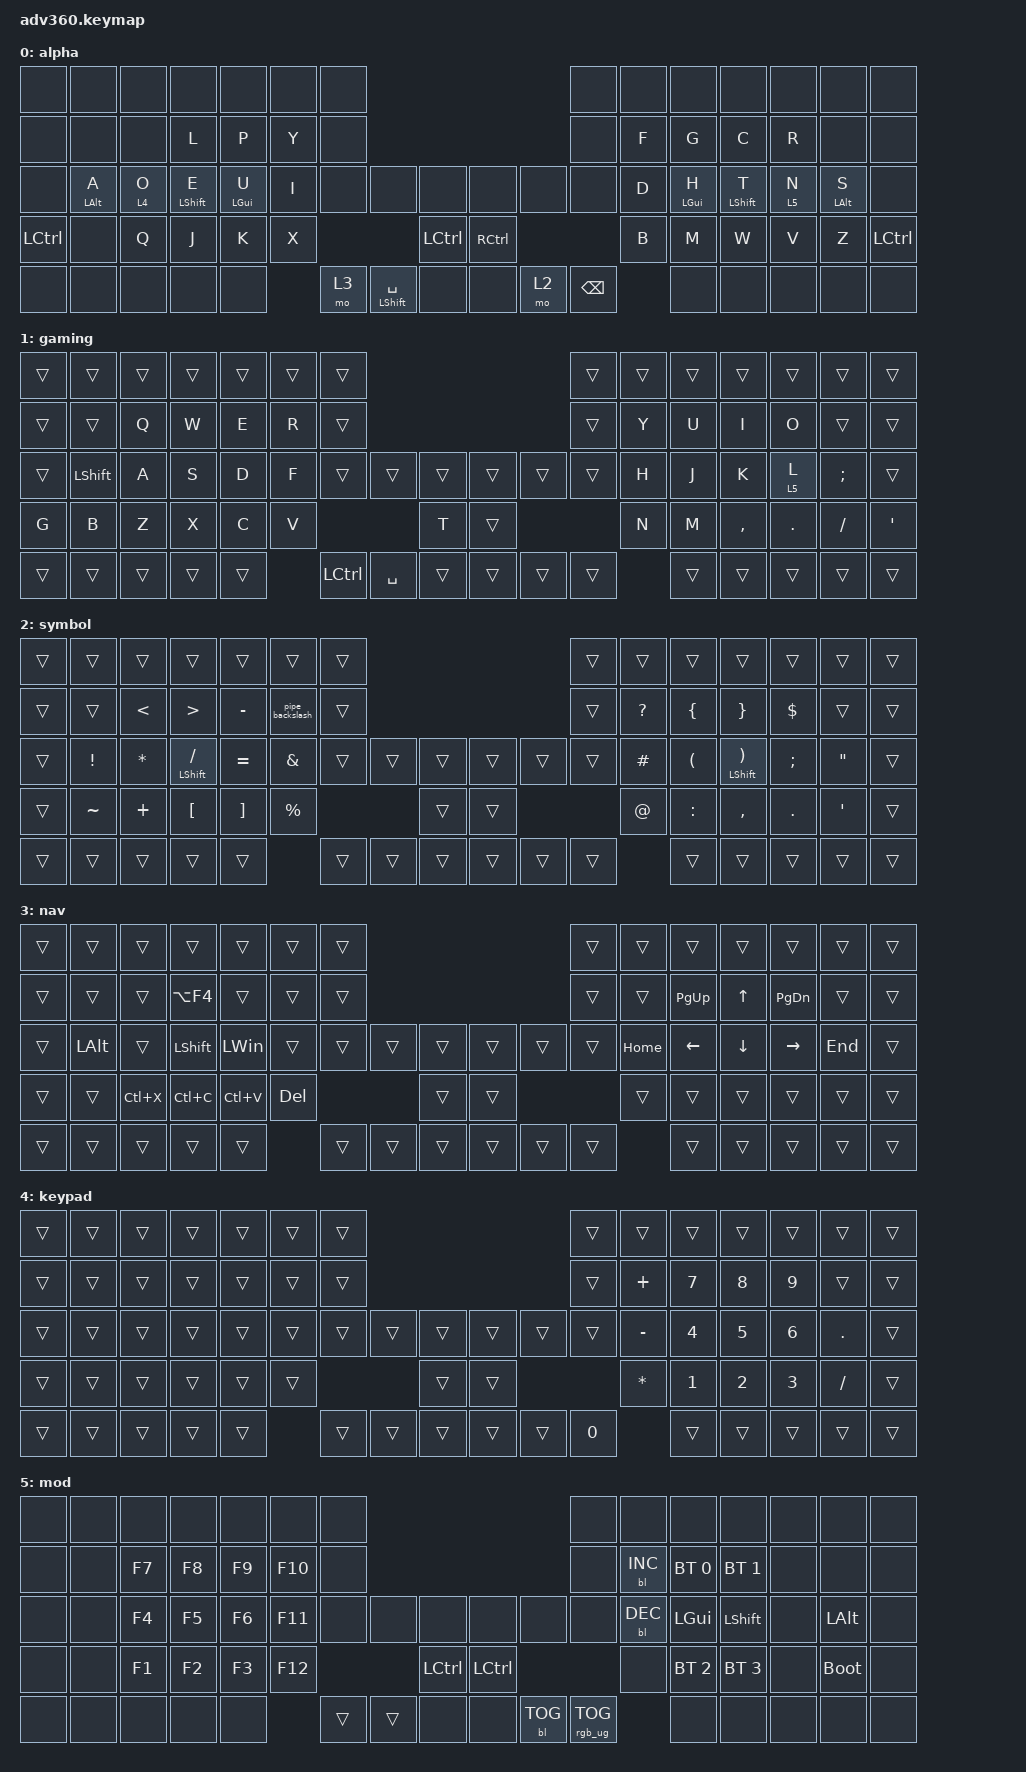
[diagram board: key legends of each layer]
#include <behaviors.dtsi>
#include <dt-bindings/zmk/backlight.h>
#include <dt-bindings/zmk/bt.h>
#include <dt-bindings/zmk/keys.h>
#include <dt-bindings/zmk/rgb.h>

/ {
    behaviors {
        #include "macros.dtsi"
      #include "version.dtsi"
      #ifndef VERSION_MACRO

        macro_ver: macro_ver {
            compatible = "zmk,behavior-macro";
            label = "macro_version";
            #binding-cells = <0>;
            bindings = <&kp RET>;
        };

        #endif

        dollar_tilde: dollar_tilde {
            compatible = "zmk,behavior-mod-morph";
            label = "dollar_tilde";
            #binding-cells = <0>;
            bindings = <&kp DOLLAR>, <&kp TILDE>;

            mods = <(MOD_LGUI|MOD_LSFT|MOD_RGUI|MOD_RSFT)>;
        };

        amper_perc: amper_perc {
            compatible = "zmk,behavior-mod-morph";
            label = "AMPER_PERC";
            #binding-cells = <0>;
            bindings = <&kp AMPERSAND>, <&kp PERCENT>;

            mods = <(MOD_LGUI|MOD_LSFT|MOD_RGUI|MOD_RSFT)>;
        };

        exclaimation: exclaimation {
            compatible = "zmk,behavior-mod-morph";
            label = "EXCLAIMATION";
            #binding-cells = <0>;
            bindings = <&kp EXCLAMATION>, <&kp EXCL>;

            mods = <(MOD_LGUI|MOD_RGUI|MOD_RSFT|MOD_LSFT)>;
        };

        left_bracket: left_bracket {
            compatible = "zmk,behavior-mod-morph";
            label = "LEFT_BRACKET";
            #binding-cells = <0>;
            bindings = <&kp LEFT_BRACKET>, <&kp LEFT_BRACKET>;

            mods = <(MOD_LGUI|MOD_LSFT|MOD_RGUI|MOD_RSFT)>;
        };

        left_brace: left_brace {
            compatible = "zmk,behavior-mod-morph";
            label = "LEFT_BRACE";
            #binding-cells = <0>;
            bindings = <&kp LEFT_BRACE>, <&kp LEFT_BRACE>;

            mods = <(MOD_LGUI|MOD_LSFT|MOD_RGUI|MOD_RSFT)>;
        };

        left_parenthesis: left_parenthesis {
            compatible = "zmk,behavior-mod-morph";
            label = "LEFT_PARENTHESIS";
            #binding-cells = <0>;
            bindings = <&kp LEFT_PARENTHESIS>, <&kp LEFT_PARENTHESIS>;

            mods = <(MOD_LGUI|MOD_LSFT|MOD_RGUI|MOD_RSFT)>;
        };

        equal: equal {
            compatible = "zmk,behavior-mod-morph";
            label = "EQUAL";
            #binding-cells = <0>;
            bindings = <&kp EQUAL>, <&kp EQUAL>;

            mods = <(MOD_LGUI|MOD_LSFT|MOD_RGUI|MOD_RSFT)>;
        };

        plus: plus {
            compatible = "zmk,behavior-mod-morph";
            label = "PLUS";
            #binding-cells = <0>;
            bindings = <&kp PLUS>, <&kp PLUS>;

            mods = <(MOD_LGUI|MOD_LSFT|MOD_RGUI|MOD_RSFT)>;
        };

        right_parenthesis: right_parenthesis {
            compatible = "zmk,behavior-mod-morph";
            label = "RIGHT_PARENTHESIS";
            #binding-cells = <0>;
            bindings = <&kp RIGHT_PARENTHESIS>, <&kp RIGHT_PARENTHESIS>;

            mods = <(MOD_LGUI|MOD_LSFT|MOD_RGUI|MOD_RSFT)>;
        };

        right_brace: right_brace {
            compatible = "zmk,behavior-mod-morph";
            label = "RIGHT_BRACE";
            #binding-cells = <0>;
            bindings = <&kp RIGHT_BRACE>, <&kp RIGHT_BRACE>;

            mods = <(MOD_LGUI|MOD_LSFT|MOD_RGUI|MOD_RSFT)>;
        };

        right_bracket: right_bracket {
            compatible = "zmk,behavior-mod-morph";
            label = "RIGHT_BRACKET";
            #binding-cells = <0>;
            bindings = <&kp RIGHT_BRACKET>, <&kp RIGHT_BRACKET>;

            mods = <(MOD_LGUI|MOD_LSFT|MOD_RGUI|MOD_RSFT)>;
        };

        asterisk: asterisk {
            compatible = "zmk,behavior-mod-morph";
            label = "ASTERISK";
            #binding-cells = <0>;
            bindings = <&kp ASTERISK>, <&kp ASTERISK>;

            mods = <(MOD_LGUI|MOD_LSFT|MOD_RGUI|MOD_RSFT)>;
        };

        hash_grave: hash_grave {
            compatible = "zmk,behavior-mod-morph";
            label = "hash_grave";
            #binding-cells = <0>;
            bindings = <&kp HASH>, <&kp GRAVE>;

            mods = <(MOD_LGUI|MOD_LSFT|MOD_RGUI|MOD_RSFT)>;
        };

        at_caret: at_caret {
            compatible = "zmk,behavior-mod-morph";
            label = "at_caret";
            #binding-cells = <0>;
            bindings = <&kp AT>, <&kp CARET>;

            mods = <(MOD_LGUI|MOD_LSFT|MOD_RGUI|MOD_RSFT)>;
        };

        pipe_backslash: pipe_backslash {
            compatible = "zmk,behavior-mod-morph";
            label = "pipe_backslash";
            #binding-cells = <0>;
            bindings = <&kp PIPE>, <&kp BACKSLASH>;

            mods = <(MOD_LGUI|MOD_LSFT|MOD_RGUI|MOD_RSFT)>;
        };

        hm: homerow_mods {
            compatible = "zmk,behavior-hold-tap";
            label = "HOMEROW_MODS";
            #binding-cells = <2>;
            tapping-term-ms = <200>;
            quick_tap_ms = <175>;
            flavor = "balanced";
            bindings = <&kp>, <&kp>;

            require-prior-idle-ms = <100>;
        };

        hmo: hold_momentary {
            compatible = "zmk,behavior-hold-tap";
            label = "HOMEROW_MOD_LAYER_SHIFT";
            #binding-cells = <2>;
            tapping-term-ms = <200>;
            quick_tap_ms = <175>;
            flavor = "balanced";
            bindings = <&mo>, <&kp>;
        };
    };

    macros {
    };

    combos {
        compatible = "zmk,combos";

        Escape {
            bindings = <&kp ESC>;
            key-positions = <16 17>;
            timeout-ms = <15>;
        };

        Tab {
            bindings = <&kp TAB>;
            key-positions = <24 25>;
            timeout-ms = <15>;
        };

        CapsWord {
            bindings = <&kp ENTER>;
            key-positions = <42 43>;
            timeout-ms = <15>;
            layers = <0>;
        };

        CapsWordL {
            bindings = <&caps_word>;
            key-positions = <30 31>;
            timeout-ms = <15>;
            layers = <0>;
        };

        Underscore {
            bindings = <&kp UNDERSCORE>;
            key-positions = <42 43>;
            timeout-ms = <15>;
            layers = <2>;
        };

        Caret {
            bindings = <&kp CARET>;
            key-positions = <30 31>;
            timeout-ms = <15>;
            layers = <2>;
        };

        Grave {
            bindings = <&kp GRAVE>;
            key-positions = <48 49>;
            timeout-ms = <15>;
            layers = <2>;
        };

        alpha {
            bindings = <&to 0>;
            key-positions = <29 33>;
            layers = <5>;
        };

        gaming {
            bindings = <&to 1>;
            key-positions = <47 51>;
            layers = <5>;
        };

        Clear {
            bindings = <&bt BT_CLR>;
            key-positions = <16 19>;
            layers = <5>;
        };

        dictate {
            bindings = <&kp F24>;
            key-positions = <48 49>;
            timeout-ms = <15>;
            layers = <0 1>;
        };
    };

    keymap {
        compatible = "zmk,keymap";

        alpha {
            bindings = <
&none      &none           &none     &none             &none           &none  &none                                                    &none          &none  &none           &none             &none     &none           &none
&none      &none           &none     &kp L             &kp P           &kp Y  &none                                                    &none          &kp F  &kp G           &kp C             &kp R     &none           &none
&none      &hm LEFT_ALT A  &hmo 4 O  &hm LEFT_SHIFT E  &hm LEFT_GUI U  &kp I  &none  &none            &none          &none      &none  &none          &kp D  &hm LEFT_GUI H  &hm LEFT_SHIFT T  &hmo 5 N  &hm LEFT_ALT S  &none
&kp LCTRL  &none           &kp Q     &kp J             &kp K           &kp X                          &kp LCTRL      &kp RCTRL                        &kp B  &kp M           &kp W             &kp V     &kp Z           &kp LCTRL
&none      &none           &none     &none             &none                  &mo 3  &hm LSHFT SPACE  &none          &none      &mo 2  &kp BACKSPACE         &none           &none             &none     &none           &none
            >;
        };

        gaming {
            bindings = <
&trans  &trans      &trans  &trans  &trans  &trans  &trans                                            &trans  &trans  &trans  &trans     &trans      &trans         &trans
&trans  &trans      &kp Q   &kp W   &kp E   &kp R   &trans                                            &trans  &kp Y   &kp U   &kp I      &kp O       &trans         &trans
&trans  &kp LSHIFT  &kp A   &kp S   &kp D   &kp F   &trans     &trans     &trans      &trans  &trans  &trans  &kp H   &kp J   &kp K      &hmo 5 L    &kp SEMICOLON  &trans
&kp G   &kp B       &kp Z   &kp X   &kp C   &kp V                         &kp T       &trans                  &kp N   &kp M   &kp COMMA  &kp PERIOD  &kp SLASH      &kp APOS
&trans  &trans      &trans  &trans  &trans          &kp LCTRL  &kp SPACE  &trans      &trans  &trans  &trans          &trans  &trans     &trans      &trans         &trans
            >;
        };

        symbol {
            bindings = <
&trans  &trans           &trans         &trans            &trans             &trans           &trans                                      &trans  &trans        &trans                &trans                            &trans         &trans             &trans
&trans  &trans           &kp LESS_THAN  &kp GREATER_THAN  &kp MINUS          &pipe_backslash  &trans                                      &trans  &kp QUESTION  &kp LEFT_BRACE        &kp RIGHT_BRACE                   &kp DOLLAR     &trans             &trans
&trans  &kp EXCLAMATION  &kp ASTERISK   &hm LSHIFT SLASH  &kp EQUAL          &kp AMPERSAND    &trans  &trans  &trans      &trans  &trans  &trans  &kp POUND     &kp LEFT_PARENTHESIS  &hm LEFT_SHIFT RIGHT_PARENTHESIS  &kp SEMICOLON  &kp DOUBLE_QUOTES  &trans
&trans  &kp TILDE        &kp PLUS       &kp LEFT_BRACKET  &kp RIGHT_BRACKET  &kp PERCENT                      &trans      &trans                  &kp AT        &kp COLON             &kp COMMA                         &kp PERIOD     &kp SINGLE_QUOTE   &trans
&trans  &trans           &trans         &trans            &trans                              &trans  &trans  &trans      &trans  &trans  &trans                &trans                &trans                            &trans         &trans             &trans
            >;
        };

        nav {
            bindings = <
&trans  &trans        &trans     &trans          &trans        &trans      &trans                                      &trans  &trans    &trans     &trans        &trans         &trans   &trans
&trans  &trans        &trans     &kp LA(F4)      &trans        &trans      &trans                                      &trans  &trans    &kp PG_UP  &kp UP_ARROW  &kp PAGE_DOWN  &trans   &trans
&trans  &kp LEFT_ALT  &trans     &kp LEFT_SHIFT  &kp LEFT_WIN  &trans      &trans  &trans  &trans      &trans  &trans  &trans  &kp HOME  &kp LEFT   &kp DOWN      &kp RIGHT      &kp END  &trans
&trans  &trans        &kp LC(X)  &kp LC(C)       &kp LC(V)     &kp DELETE                  &trans      &trans                  &trans    &trans     &trans        &trans         &trans   &trans
&trans  &trans        &trans     &trans          &trans                    &trans  &trans  &trans      &trans  &trans  &trans            &trans     &trans        &trans         &trans   &trans
            >;
        };

        keypad {
            bindings = <
&trans  &trans  &trans  &trans  &trans  &trans  &trans                                      &trans        &trans        &trans        &trans        &trans        &trans     &trans
&trans  &trans  &trans  &trans  &trans  &trans  &trans                                      &trans        &kp PLUS      &kp NUMBER_7  &kp NUMBER_8  &kp NUMBER_9  &trans     &trans
&trans  &trans  &trans  &trans  &trans  &trans  &trans  &trans  &trans      &trans  &trans  &trans        &kp MINUS     &kp NUMBER_4  &kp NUMBER_5  &kp NUMBER_6  &kp DOT    &trans
&trans  &trans  &trans  &trans  &trans  &trans                  &trans      &trans                        &kp ASTERISK  &kp NUMBER_1  &kp NUMBER_2  &kp NUMBER_3  &kp SLASH  &trans
&trans  &trans  &trans  &trans  &trans          &trans  &trans  &trans      &trans  &trans  &kp NUMBER_0                &trans        &trans        &trans        &trans     &trans
            >;
        };

        mod {
            bindings = <
&none  &none  &none   &none   &none   &none    &none                                                 &none            &none       &none         &none         &none  &none         &none
&none  &none  &kp F7  &kp F8  &kp F9  &kp F10  &none                                                 &none            &bl BL_INC  &bt BT_SEL 0  &bt BT_SEL 1  &none  &none         &none
&none  &none  &kp F4  &kp F5  &kp F6  &kp F11  &none   &none   &none          &none      &none       &none            &bl BL_DEC  &kp LEFT_GUI  &kp LSHIFT    &none  &kp LEFT_ALT  &none
&none  &none  &kp F1  &kp F2  &kp F3  &kp F12                  &kp LCTRL      &kp LCTRL                               &none       &bt BT_SEL 2  &bt BT_SEL 3  &none  &bootloader   &none
&none  &none  &none   &none   &none            &trans  &trans  &none          &none      &bl BL_TOG  &rgb_ug RGB_TOG              &none         &none         &none  &none         &none
            >;
        };
    };
};
